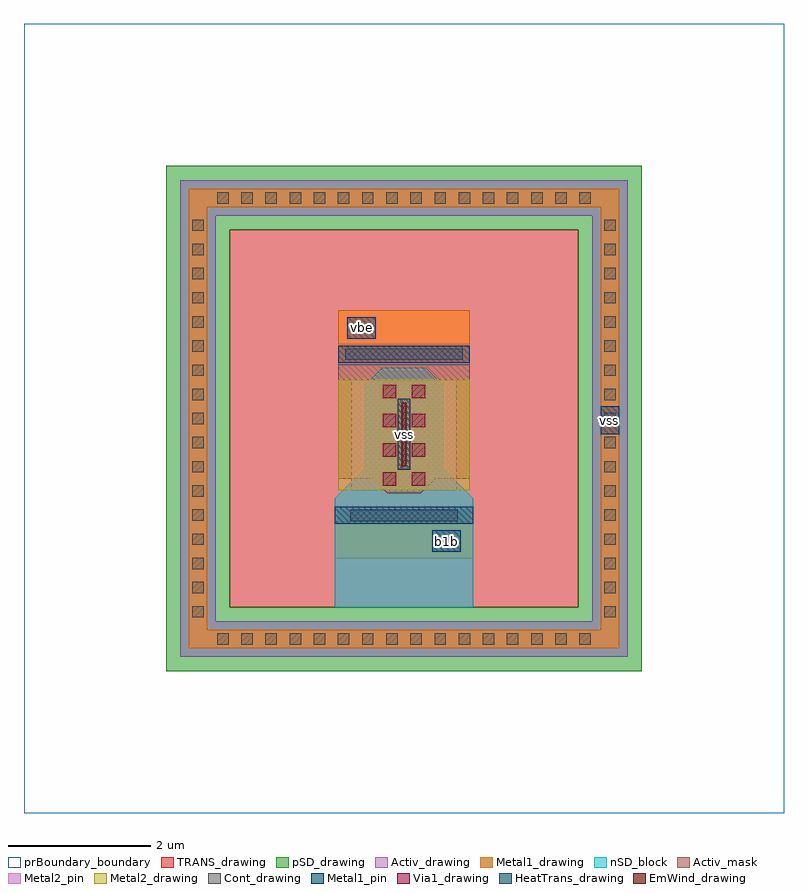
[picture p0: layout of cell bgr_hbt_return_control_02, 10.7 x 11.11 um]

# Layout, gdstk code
import gdstk
lib = gdstk.Library(unit=1e-6, precision=1e-09)
def R(c, l, rs):  # rectangles x0, y0, x1, y1
    for r in rs: c.add(gdstk.rectangle(r[:2], r[2:], *l))
def A(c, l, x, y, w, h, nx, ny, dx, dy):  # array of equal rectangles
    R(c, l, [(x+i*dx, y+j*dy, x+i*dx+w, y+j*dy+h) for i in range(nx) for j in range(ny)])
def P(c, l, *ps):  # polygons
    for p in ps: c.add(gdstk.Polygon(p, *l))
Activ_drawing = (1, 0)
Activ_mask = (1, 20)
Cont_drawing = (6, 0)
nSD_block = (7, 21)
Metal1_drawing = (8, 0)
Metal1_pin = (8, 2)
Metal2_drawing = (10, 0)
Metal2_pin = (10, 2)
pSD_drawing = (14, 0)
Via1_drawing = (19, 0)
TRANS_drawing = (26, 0)
EmWind_drawing = (33, 0)
HeatTrans_drawing = (51, 0)
prBoundary_boundary = (189, 4)

npn13g2 = lib.new_cell('npn13G2')
R(npn13g2, Activ_drawing, [(-0.925,0.98,0.925,1.28)])
P(npn13g2, Activ_drawing, [(-3.15,-3.13),(-3.15,3.58),(2.65,3.58),(2.65,3.08),(-2.65,3.08),(-2.65,-2.63),(2.65,-2.63),(2.65,3.58),(3.15,3.58),(3.15,-3.13)])
P(npn13g2, Activ_mask, [(-0.235,-0.83),(-0.445,-0.62),(-0.925,-0.62),(-0.925,0.98),(0.925,0.98),(0.925,-0.62),(0.445,-0.62),(0.235,-0.83)])
R(npn13g2, Cont_drawing, [(-0.76,-1.22,0.76,-1.06), (-0.825,1.05,0.825,1.21)])
P(npn13g2, nSD_block, [(-0.975,-2.43),(-0.975,-0.9),(-0.555,-0.48),(-0.555,0.69),(-0.305,0.94),(0.305,0.94),(0.555,0.69),(0.555,-0.48),(0.975,-0.9),(0.975,-2.43)])
R(npn13g2, Metal1_drawing, [(-0.975,-1.26,0.975,-1.02), (-0.35,-0.785,0.35,0.77), (-0.925,1.01,0.925,1.25)])
R(npn13g2, Metal1_pin, [(-0.975,-1.26,0.975,-1.02), (-0.925,1.01,0.925,1.25)])
R(npn13g2, Metal2_drawing, [(-0.925,-0.785,0.925,0.77)])
R(npn13g2, Metal2_pin, [(-0.745,-0.785,0.745,0.77)])
P(npn13g2, pSD_drawing, [(-3.35,-3.33),(-3.35,3.78),(2.45,3.78),(2.45,2.88),(-2.45,2.88),(-2.45,-2.43),(2.45,-2.43),(2.45,3.78),(3.35,3.78),(3.35,-3.33)])
A(npn13g2, Via1_drawing, -0.3, -0.72, 0.19, 0.19, 1, 4, 0, 0.41)
A(npn13g2, Via1_drawing, 0.11, -0.72, 0.19, 0.19, 1, 4, 0, 0.41)
R(npn13g2, TRANS_drawing, [(-2.45,-2.43,2.45,2.88)])
R(npn13g2, EmWind_drawing, [(-0.035,-0.45,0.035,0.45)])
R(npn13g2, HeatTrans_drawing, [(-0.085,-0.5,0.085,0.5)])
npn13g2.add(gdstk.Label('npn13G2', (0,0), layer=51, texttype=0))
npn13g2.add(gdstk.Label('npn13G2', (0.015,2.31), layer=63, texttype=0))
npn13g2.add(gdstk.Label('C', (0,1.13), layer=63, texttype=0))
npn13g2.add(gdstk.Label('B', (0,-1.14), layer=63, texttype=0))
npn13g2.add(gdstk.Label('E', (0,-0.007), layer=63, texttype=0))
npn13g2.add(gdstk.Label('Ae=1*1*0.07*0.90', (-1.977,-2.546), layer=63, texttype=0))

bgr_hbt_return_control_0 = lib.new_cell('bgr_hbt_return_control_02')
A(bgr_hbt_return_control_0, Cont_drawing, 7.37, 7.04, 0.16, 0.16, 16, 2, 0.34, 6.21)
A(bgr_hbt_return_control_0, Cont_drawing, 7.02, 7.425, 0.16, 0.16, 1, 17, 0, 0.34)
A(bgr_hbt_return_control_0, Cont_drawing, 12.82, 7.425, 0.16, 0.16, 1, 17, 0, 0.34)
R(bgr_hbt_return_control_0, Metal1_drawing, [(9.025,8.25,10.975,8.98), (9.075,11.01,10.925,11.75)])
P(bgr_hbt_return_control_0, Metal1_drawing, [(6.97,6.99),(6.97,13.2),(7.23,13.2),(7.23,7.25),(12.77,7.25),(12.77,13.2),(6.97,13.2),(6.97,13.46),(13.03,13.46),(13.03,6.99)])
R(bgr_hbt_return_control_0, Metal1_pin, [(10.4,8.35,10.8,8.65), (12.77,10,13.03,10.4), (9.2,11.35,9.6,11.65)])
R(bgr_hbt_return_control_0, Metal2_pin, [(9.6,9.6,10.4,10.4)])
R(bgr_hbt_return_control_0, prBoundary_boundary, [(4.65,4.67,15.35,15.78)])
bgr_hbt_return_control_0.add(gdstk.Reference(npn13g2, (10,10)))
bgr_hbt_return_control_0.add(gdstk.Label('vss', (12.9,10.2), layer=8, texttype=25))
bgr_hbt_return_control_0.add(gdstk.Label('b1b', (10.6,8.5), layer=8, texttype=25))
bgr_hbt_return_control_0.add(gdstk.Label('vbe', (9.4,11.5), layer=8, texttype=25))
bgr_hbt_return_control_0.add(gdstk.Label('vss', (10,10), layer=10, texttype=25))

lib.write_gds('bgr_hbt_return_control_02.gds')
